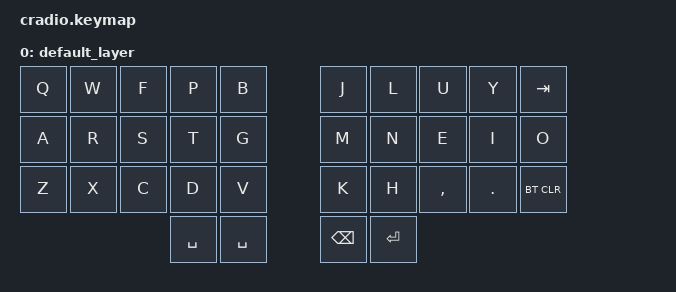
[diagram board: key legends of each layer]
/*
 * Copyright (c) 2020 The ZMK Contributors
 *
 * SPDX-License-Identifier: MIT
 */

#include <behaviors.dtsi>
#include <dt-bindings/zmk/keys.h>
#include <dt-bindings/zmk/bt.h>


&kscan0 {
	input-gpios
	= <&pro_micro_d  6 (GPIO_ACTIVE_LOW | GPIO_PULL_UP)>
	, <&pro_micro_a  0 (GPIO_ACTIVE_LOW | GPIO_PULL_UP)>
	, <&pro_micro_a  1 (GPIO_ACTIVE_LOW | GPIO_PULL_UP)>
	, <&pro_micro_a  2 (GPIO_ACTIVE_LOW | GPIO_PULL_UP)>
	, <&pro_micro_a  3 (GPIO_ACTIVE_LOW | GPIO_PULL_UP)>
	, <&pro_micro_d 15 (GPIO_ACTIVE_LOW | GPIO_PULL_UP)>
	, <&pro_micro_d 14 (GPIO_ACTIVE_LOW | GPIO_PULL_UP)>
	, <&pro_micro_d 16 (GPIO_ACTIVE_LOW | GPIO_PULL_UP)>
	, <&pro_micro_d 10 (GPIO_ACTIVE_LOW | GPIO_PULL_UP)>
	, <&pro_micro_d  1 (GPIO_ACTIVE_LOW | GPIO_PULL_UP)>
	, <&pro_micro_d  2 (GPIO_ACTIVE_LOW | GPIO_PULL_UP)>
	, <&pro_micro_d  3 (GPIO_ACTIVE_LOW | GPIO_PULL_UP)>
	, <&pro_micro_d  4 (GPIO_ACTIVE_LOW | GPIO_PULL_UP)>
	, <&pro_micro_d  5 (GPIO_ACTIVE_LOW | GPIO_PULL_UP)>
	, <&pro_micro_d  7 (GPIO_ACTIVE_LOW | GPIO_PULL_UP)>
	, <&pro_micro_d  8 (GPIO_ACTIVE_LOW | GPIO_PULL_UP)>
	, <&pro_micro_d  9 (GPIO_ACTIVE_LOW | GPIO_PULL_UP)>
	;
};


/ { 

    keymap {
		compatible = "zmk,keymap";
		
		default_layer {
			bindings = <
			&kp Q &kp W &kp F &kp P &kp B 				   &kp J &kp L  &kp U &kp Y &kp TAB 
			&kp A &kp R &kp S &kp T &kp G 			       &kp M &kp N  &kp E &kp I &kp O
			&kp Z &kp X &kp C &kp D &kp V				   &kp K &kp H  &kp COMMA &kp DOT &bt BT_CLR
							  &kp SPC &kp SPC  		&kp BSPC &kp ENTER 
			>;
		};
	};
};

